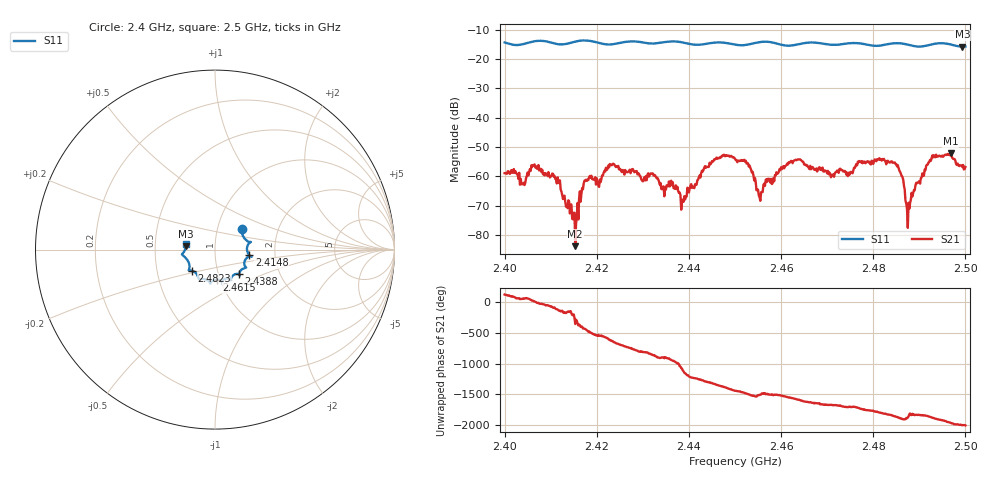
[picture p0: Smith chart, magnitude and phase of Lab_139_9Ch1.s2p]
# Hz S RI R 50
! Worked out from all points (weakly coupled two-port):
!   601 points, 2.4 GHz to 2.5 GHz, reference 50 ohm
!   highest |S21| = -52.17 dB at 2.4968 GHz (marker M1); lowest = -83.8 dB at 2.4153 GHz (marker M2)
!   lowest |S11| = -15.8 dB at 2.4993 GHz (marker M3), VSWR 1.39, Z = 36.1 + j1.34 ohm
!   |S11| at or under -10 dB: start of sweep to end of sweep
!   S12 and S22 are empty: the file has one direction only
!   S11 on the Smith chart (normalised r, x): 2.4 GHz: 1.31, +0.32; 2.4148 GHz: 1.47, -0.10; 2.4388 GHz: 1.25, -0.36; 2.4615 GHz: 0.97, -0.34; 2.4823 GHz: 0.75, -0.18; 2.5 GHz: 0.72, +0.05
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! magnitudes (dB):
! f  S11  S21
! 2.4 GHz  -14.3  -58.9
! 2.4105 GHz  -14.5  -59.1
! 2.4148 GHz  -14.2  -74.7
! 2.4153 GHz  -14.0  -83.8
! 2.4167 GHz  -13.7  -65.9
! 2.4233 GHz  -15.0  -56.1
! 2.4333 GHz  -14.5  -61.0
! 2.4388 GHz  -14.4  -68.7
! 2.4455 GHz  -14.4  -54.2
! 2.45 GHz  -15.0  -54.1
! 2.4528 GHz  -15.0  -55.6
! 2.4555 GHz  -14.2  -68.3
! 2.4615 GHz  -15.4  -55.9
! 2.4667 GHz  -14.3  -57.0
! 2.4823 GHz  -15.2  -54.0
! 2.4833 GHz  -14.9  -55.0
! 2.4858 GHz  -14.6  -58.5
! 2.4875 GHz  -15.1  -77.6
! 2.4927 GHz  -15.0  -53.8
! 2.4968 GHz  -15.0  -52.2
! 2.4993 GHz  -15.8  -56.8
! 2.5 GHz  -15.7  -56.8
